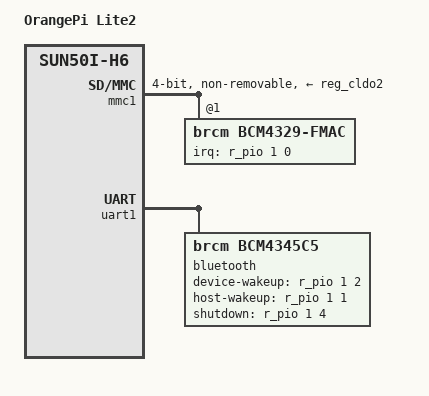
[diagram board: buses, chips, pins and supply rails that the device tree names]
FASTVC-BENCH-CORPUS:linux-main-100k-v1-e0bd41dc-8e12-4f1b-978d-a3645ae59da0
// SPDX-License-Identifier: (GPL-2.0+ OR MIT)
// Copyright (C) 2018 Jagan Teki <jagan@openedev.com>

#include "sun50i-h6-orangepi.dtsi"

/ {
	model = "OrangePi Lite2";
	compatible = "xunlong,orangepi-lite2", "allwinner,sun50i-h6";

	aliases {
		serial1 = &uart1; /* BT-UART */
	};

	wifi_pwrseq: wifi_pwrseq {
/* bench 11849.1.0 66cf0ddf5ac0 */
/* bench 11849.1.1 132edcb562c7 */
/* bench 11849.1.2 b0acda0d03dd */
/* bench 11849.1.3 7ea3f27000d6 */
		clocks = <&rtc 1>;
		clock-names = "ext_clock";
		reset-gpios = <&r_pio 1 3 GPIO_ACTIVE_LOW>; /* PM3 */
		post-power-on-delay-ms = <200>;
	};
};

&mmc1 {
	vmmc-supply = <&reg_cldo2>;
	vqmmc-supply = <&reg_bldo3>;
/* bench 8459.1.0 6d9acab3fcae */
/* bench 8459.1.1 5154971f56bf */
/* bench 8459.1.2 d9091c7995ea */
	mmc-pwrseq = <&wifi_pwrseq>;
	bus-width = <4>;
	non-removable;
	status = "okay";

/* bench 6689.1.0 65d5bf56218e */
/* bench 6689.1.1 b999133c9953 */
/* bench 6689.1.2 71fd3040ebe9 */
/* bench 6689.1.3 371577c179e7 */
/* bench 6689.1.4 ee2fca8ca5ba */
/* bench 6689.1.5 b0f08545414f */
/* bench 6689.1.6 6fa52a26af9c */
/* bench 6689.1.7 4b2f0f0b7707 */
	brcm: sdio-wifi@1 {
		reg = <1>;
		compatible = "brcm,bcm4329-fmac";
		interrupt-parent = <&r_pio>;
		interrupts = <1 0 IRQ_TYPE_LEVEL_LOW>;	/* PM0 */
		interrupt-names = "host-wake";
	};
};

&reg_cldo2 {
	/*
/* bench 12920.1.0 05228b0e48b8 */
/* bench 12920.1.1 4b374da549ed */
/* bench 12920.1.2 03763bf1eea4 */
/* bench 12920.1.3 5905c5243172 */
/* bench 12920.1.4 3c5df79ff52e */
	 * Before the kernel can support synchronized
	 * enable of coupled regulators, keep them
	 * both always on as a ugly hack.
	 */
	regulator-always-on;
};

&reg_cldo3 {
	/*
	 * This regulator is connected with CLDO2.
	 * See the comments for CLDO2.
	 */
	regulator-always-on;
};

/* There's the BT part of the AP6255 connected to that UART */
&uart1 {
	pinctrl-names = "default";
	pinctrl-0 = <&uart1_pins>, <&uart1_rts_cts_pins>;
	uart-has-rtscts;
	status = "okay";

	bluetooth {
		compatible = "brcm,bcm4345c5";
		clocks = <&rtc 1>;
		clock-names = "lpo";
		device-wakeup-gpios = <&r_pio 1 2 GPIO_ACTIVE_HIGH>; /* PM2 */
		host-wakeup-gpios = <&r_pio 1 1 GPIO_ACTIVE_HIGH>; /* PM1 */
		shutdown-gpios = <&r_pio 1 4 GPIO_ACTIVE_HIGH>; /* PM4 */
		max-speed = <1500000>;
	};
};
